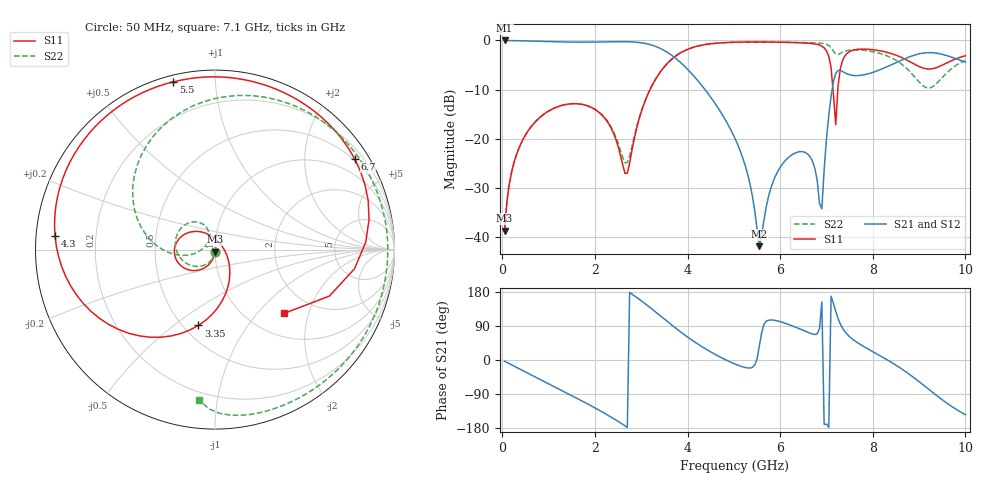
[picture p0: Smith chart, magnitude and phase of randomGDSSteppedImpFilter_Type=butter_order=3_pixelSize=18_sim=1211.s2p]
! freq	dB(S11)	phase(S11)	dB(S12)	phase(S12)
!  dB(S21)	phase(S21)	dB(S22)	phase(S22)
!S-par simulation data
#  GHz  S  DB  R 50
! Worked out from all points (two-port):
!   200 points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, 50 MHz to 10 GHz, reference 50 ohm
!   highest |S21| = -0.01 dB at 50 MHz (marker M1); lowest = -41.9 dB at 5.55 GHz (marker M2)
!   |S21| within 3 dB of the highest: start of sweep to 3.656 GHz; 8.894 GHz to 9.569 GHz (675.1 MHz wide, 7.31 % of centre)
!   lowest |S11| = -38.7 dB at 50 MHz (marker M3), VSWR 1.02, Z = 50 - j1.16 ohm
!   |S11| at or under -10 dB: start of sweep to 3.191 GHz; 7.141 GHz to 7.245 GHz (104.3 MHz wide, 1.45 % of centre)
!   |S22| runs from -38.7 to -0.3 dB; largest |S21 - S12| = 0
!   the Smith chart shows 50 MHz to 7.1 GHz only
!   S11 on the Smith chart (normalised r, x): 50 MHz: 1.00, -0.02; 3.35 GHz: 0.59, -0.62; 4.3 GHz: 0.06, +0.04; 5.5 GHz: 0.03, +0.78; 6.7 GHz: 0.46, +3.32; 7.1 GHz: 1.44, -1.41
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0.05  -38.70 -91.7  -0.01 -3.2  -0.01 -3.2  -38.71 -92.3
0.2  -26.85 -100.9  -0.03 -12.7  -0.03 -12.7  -26.87 -104.3
0.5  -19.26 -117.7  -0.10 -31.5  -0.10 -31.5  -19.27 -126.2
1.75  -13.08 173.1  -0.36 -109.9  -0.36 -109.9  -13.06 146.3
2.7  -27.04 19.7  -0.27 -177.7  -0.27 -177.7  -24.86 157.8
3.35  -7.28 -102.3  -1.36 122.9  -1.36 122.9  -7.30 162.9
3.4  -6.58 -107.3  -1.57 118.0  -1.57 118.0  -6.60 158.1
4.3  -0.97 175.2  -9.08 36.0  -9.08 36.0  -0.99 72.4
5.05  -0.36 128.4  -20.48 -11.9  -20.48 -11.9  -0.37 18.5
5.5  -0.33 103.9  -38.26 2.1  -38.26 2.1  -0.33 -7.9
5.55  -0.33 101.3  -41.89 35.9  -41.89 35.9  -0.33 -10.7
6  -0.36 77.3  -25.85 101.2  -25.85 101.2  -0.36 -34.3
6.7  -0.65 33.0  -24.61 68.5  -24.61 68.5  -0.49 -69.6
6.9  -1.17 11.0  -34.28 152.8  -34.28 152.8  -0.59 -81.2
7.1  -5.60 -42.5  -11.35 168.4  -11.35 168.4  -1.49 -95.9
7.2  -17.14 174.5  -6.73 128.7  -6.73 128.7  -2.75 -96.9
7.4  -3.13 58.4  -6.61 74.5  -6.61 74.5  -2.19 -97.1
7.75  -1.77 20.2  -7.09 39.5  -7.09 39.5  -1.96 -115.9
8.35  -2.53 -15.6  -5.18 -2.4  -5.18 -2.4  -3.31 -157.4
9.1  -5.67 -36.3  -2.56 -66.8  -2.56 -66.8  -9.34 91.4
9.55  -4.81 -34.5  -2.95 -109.5  -2.95 -109.5  -7.05 -13.8
10  -3.12 -48.3  -4.43 -144.6  -4.43 -144.6  -4.09 -68.3
